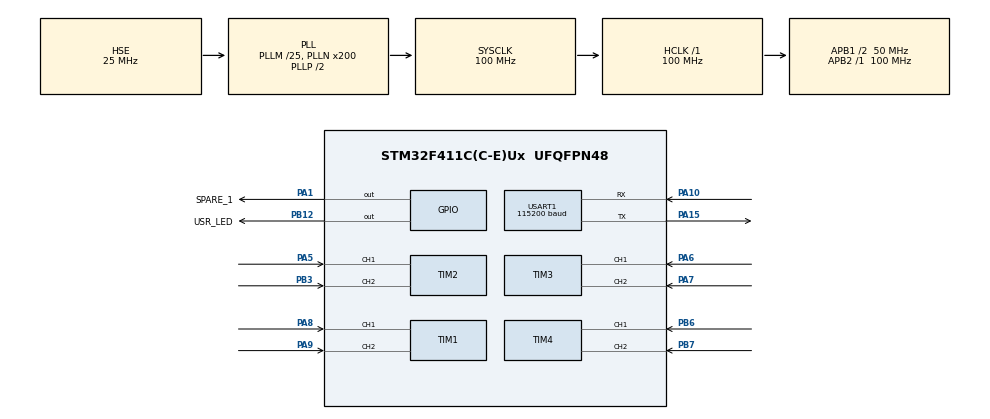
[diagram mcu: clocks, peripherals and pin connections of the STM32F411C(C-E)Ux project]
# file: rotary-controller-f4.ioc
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FREERTOS.Tasks01=defaultTask,24,128,StartDefaultTask,Default,NULL,Dynamic,NULL,NULL
FREERTOS.configENABLE_FPU=1
FREERTOS.configUSE_NEWLIB_REENTRANT=1
Mcu.Family=STM32F4
Mcu.Name=STM32F411C(C-E)Ux
Mcu.Package=UFQFPN48
NVIC.PriorityGroup=NVIC_PRIORITYGROUP_4
NVIC.TIM1_BRK_TIM9_IRQn=true\:5\:0\:true\:false\:true\:false\:true\:true\:true
NVIC.TIM1_TRG_COM_TIM11_IRQn=true\:15\:0\:true\:false\:true\:false\:false\:true\:true
NVIC.TIM1_UP_TIM10_IRQn=true\:15\:0\:true\:false\:true\:false\:true\:true\:true
NVIC.TimeBase=TIM1_TRG_COM_TIM11_IRQn
NVIC.TimeBaseIP=TIM11
NVIC.USART1_IRQn=true\:15\:0\:true\:false\:true\:true\:true\:true\:true
PA1.GPIO_Label=SPARE_1
PA1.Signal=GPIO_Output
PA10.Mode=Asynchronous
PA10.Signal=USART1_RX
PA13.Mode=Serial_Wire
PA13.Signal=SYS_JTMS-SWDIO
PA14.Mode=Serial_Wire
PA14.Signal=SYS_JTCK-SWCLK
PA15.Mode=Asynchronous
PA15.Signal=USART1_TX
PA5.GPIO_PuPd=GPIO_PULLUP
PA5.GPIO_Speed=GPIO_SPEED_FREQ_VERY_HIGH
PA5.Signal=S_TIM2_CH1_ETR
PA6.GPIO_PuPd=GPIO_PULLUP
PA6.GPIO_Speed=GPIO_SPEED_FREQ_VERY_HIGH
PA6.Signal=S_TIM3_CH1
PA7.GPIO_PuPd=GPIO_PULLUP
PA7.GPIO_Speed=GPIO_SPEED_FREQ_VERY_HIGH
PA7.Signal=S_TIM3_CH2
PA8.GPIO_PuPd=GPIO_PULLUP
PA8.GPIO_Speed=GPIO_SPEED_FREQ_VERY_HIGH
PA8.Signal=S_TIM1_CH1
PA9.GPIO_PuPd=GPIO_PULLUP
PA9.GPIO_Speed=GPIO_SPEED_FREQ_VERY_HIGH
PA9.Signal=S_TIM1_CH2
PB12.GPIO_Label=USR_LED
PB12.GPIO_Speed=GPIO_SPEED_FREQ_MEDIUM
PB12.PinState=GPIO_PIN_SET
PB12.Signal=GPIO_Output
PB3.GPIO_PuPd=GPIO_PULLUP
PB3.GPIO_Speed=GPIO_SPEED_FREQ_VERY_HIGH
PB3.Signal=S_TIM2_CH2
PB6.GPIO_PuPd=GPIO_PULLUP
PB6.GPIO_Speed=GPIO_SPEED_FREQ_VERY_HIGH
PB6.Signal=S_TIM4_CH1
PB7.GPIO_PuPd=GPIO_PULLUP
PB7.GPIO_Speed=GPIO_SPEED_FREQ_VERY_HIGH
PB7.Signal=S_TIM4_CH2
PH0\ -\ OSC_IN.Mode=HSE-External-Oscillator
PH0\ -\ OSC_IN.Signal=RCC_OSC_IN
PH1\ -\ OSC_OUT.Mode=HSE-External-Oscillator
PH1\ -\ OSC_OUT.Signal=RCC_OSC_OUT
ProjectManager.HeapSize=0x200
ProjectManager.StackSize=0x400
ProjectManager.TargetToolchain=STM32CubeIDE
RCC.48MHZClocksFreq_Value=50000000
RCC.AHBFreq_Value=100000000
RCC.APB1CLKDivider=RCC_HCLK_DIV2
RCC.APB1Freq_Value=50000000
RCC.APB1TimFreq_Value=100000000
RCC.APB2Freq_Value=100000000
RCC.APB2TimFreq_Value=100000000
RCC.CortexFreq_Value=100000000
RCC.HCLKFreq_Value=100000000
RCC.HSE_Timout=1000
RCC.HSE_VALUE=25000000
RCC.HSI_VALUE=16000000
RCC.LSE_VALUE=32768
RCC.PLLM=25
RCC.PLLN=200
RCC.PLLSourceVirtual=RCC_PLLSOURCE_HSE
RCC.SYSCLKFreq_VALUE=100000000
RCC.SYSCLKSource=RCC_SYSCLKSOURCE_PLLCLK
RCC.VCOOutputFreq_Value=200000000
SH.S_TIM1_CH1.0=TIM1_CH1,Encoder_Interface
SH.S_TIM1_CH2.0=TIM1_CH2,Encoder_Interface
SH.S_TIM2_CH1_ETR.0=TIM2_CH1,Encoder_Interface
SH.S_TIM2_CH2.0=TIM2_CH2,Encoder_Interface
SH.S_TIM3_CH1.0=TIM3_CH1,Encoder_Interface
SH.S_TIM3_CH2.0=TIM3_CH2,Encoder_Interface
SH.S_TIM4_CH1.0=TIM4_CH1,Encoder_Interface
SH.S_TIM4_CH2.0=TIM4_CH2,Encoder_Interface
TIM1.EncoderMode=TIM_ENCODERMODE_TI12
TIM2.EncoderMode=TIM_ENCODERMODE_TI12
TIM3.EncoderMode=TIM_ENCODERMODE_TI12
TIM4.EncoderMode=TIM_ENCODERMODE_TI12
TIM9.Period=20-1
TIM9.Prescaler=100 -1
USART1.BaudRate=115200
USART1.OverSampling=UART_OVERSAMPLING_16
USART1.VirtualMode=VM_ASYNC
VP_FREERTOS_VS_CMSIS_V2.Mode=CMSIS_V2
VP_SYS_VS_tim11.Mode=TIM11
VP_TIM9_VS_ClockSourceINT.Mode=Internal
board=custom

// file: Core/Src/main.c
/* USER CODE BEGIN Header */
/**
  ******************************************************************************
  * @file           : main.c
  * @brief          : Main program body
  ******************************************************************************
  * @attention
  *
  * Copyright (c) 2022 STMicroelectronics.
  * All rights reserved.
  *
  * This software is licensed under terms that can be found in the LICENSE file
  * in the root directory of this software component.
  * If no LICENSE file comes with this software, it is provided AS-IS.
  *
  ******************************************************************************
  */
/* USER CODE END Header */
#include "main.h"
#include "cmsis_os.h"
#include "tim.h"
#include "usart.h"
#include "gpio.h"

/* USER CODE BEGIN PV */
rampsHandler_t RampsData;
/* USER CODE END PV */

void SystemClock_Config(void);
void MX_FREERTOS_Init(void);
/* USER CODE BEGIN PFP */
void BlinkLed4Times(void);
/* USER CODE END PFP */

/* USER CODE BEGIN 0 */
void BlinkLed4Times(void)
{
    // Define timing - adjust as needed
    const uint32_t onTime = 250;  // LED on time in ms
    const uint32_t offTime = 250; // LED off time in ms

    for(int i = 0; i < 4; i++)
    {
        // Turn LED ON (Set pin to LOW since it's active-low)
        HAL_GPIO_WritePin(USR_LED_GPIO_Port, USR_LED_Pin, GPIO_PIN_RESET);
        HAL_Delay(onTime);

        // Turn LED OFF (Set pin to HIGH)
        HAL_GPIO_WritePin(USR_LED_GPIO_Port, USR_LED_Pin, GPIO_PIN_SET);

        // Don't delay after the last blink
        if(i < 3)
        {
            HAL_Delay(offTime);
        }
    }
}
/* USER CODE END 0 */

int main(void)
{

  /* MCU Configuration--------------------------------------------------------*/

  /* Reset of all peripherals, Initializes the Flash interface and the Systick. */
  HAL_Init();

  /* Configure the system clock */
  SystemClock_Config();

  /* Initialize all configured peripherals */
  MX_GPIO_Init();
  MX_TIM1_Init();
  MX_TIM2_Init();
  MX_TIM3_Init();
  MX_TIM4_Init();
  MX_USART1_UART_Init();
  MX_TIM9_Init();
  /* USER CODE BEGIN 2 */
  BlinkLed4Times();
  // htim1 is used in encoder mode
  // htim2 is used in encoder mode
  // htim3 is used in encoder mode
  // htim4 is used in encoder mode
  // htim9 is used to generate the synchro motion

  RampsData.shared.scales[0].timerHandle = &htim1;
  RampsData.shared.scales[1].timerHandle = &htim2;
  RampsData.shared.scales[2].timerHandle = &htim3;
  RampsData.shared.scales[3].timerHandle = &htim4;
  RampsData.synchroRefreshTimer = &htim9;
  RampsData.modbusUart = &huart1;
  RampsStart(&RampsData);

  /* USER CODE END 2 */

  /* Init scheduler */
  osKernelInitialize();

  /* Call init function for freertos objects (in cmsis_os2.c) */
  MX_FREERTOS_Init();

  /* Start scheduler */
  osKernelStart();

  /* We should never get here as control is now taken by the scheduler */

  /* Infinite loop */
  while (1)
  {

  }
}

void SystemClock_Config(void)
{
  RCC_OscInitTypeDef RCC_OscInitStruct = {0};
  RCC_ClkInitTypeDef RCC_ClkInitStruct = {0};

  /** Configure the main internal regulator output voltage
  */
  __HAL_RCC_PWR_CLK_ENABLE();
  __HAL_PWR_VOLTAGESCALING_CONFIG(PWR_REGULATOR_VOLTAGE_SCALE1);

  /** Initializes the RCC Oscillators according to the specified parameters
  * in the RCC_OscInitTypeDef structure.
  */
  RCC_OscInitStruct.OscillatorType = RCC_OSCILLATORTYPE_HSE;
  RCC_OscInitStruct.HSEState = RCC_HSE_ON;
  RCC_OscInitStruct.PLL.PLLState = RCC_PLL_ON;
  RCC_OscInitStruct.PLL.PLLSource = RCC_PLLSOURCE_HSE;
  RCC_OscInitStruct.PLL.PLLM = 25;
  RCC_OscInitStruct.PLL.PLLN = 200;
  RCC_OscInitStruct.PLL.PLLP = RCC_PLLP_DIV2;
  RCC_OscInitStruct.PLL.PLLQ = 4;
  if (HAL_RCC_OscConfig(&RCC_OscInitStruct) != HAL_OK)
  {
    Error_Handler();
  }

  /** Initializes the CPU, AHB and APB buses clocks
  */
  RCC_ClkInitStruct.ClockType = RCC_CLOCKTYPE_HCLK|RCC_CLOCKTYPE_SYSCLK
                              |RCC_CLOCKTYPE_PCLK1|RCC_CLOCKTYPE_PCLK2;
  RCC_ClkInitStruct.SYSCLKSource = RCC_SYSCLKSOURCE_PLLCLK;
  RCC_ClkInitStruct.AHBCLKDivider = RCC_SYSCLK_DIV1;
  RCC_ClkInitStruct.APB1CLKDivider = RCC_HCLK_DIV2;
  RCC_ClkInitStruct.APB2CLKDivider = RCC_HCLK_DIV1;

  if (HAL_RCC_ClockConfig(&RCC_ClkInitStruct, FLASH_LATENCY_3) != HAL_OK)
  {
    Error_Handler();
  }
}

void HAL_TIM_PeriodElapsedCallback(TIM_HandleTypeDef *htim)
{
  if (htim->Instance == TIM11)
  {
    HAL_IncTick();
  }
}

void Error_Handler(void)
{
  __disable_irq();
  while (1)
  {
  }
}
